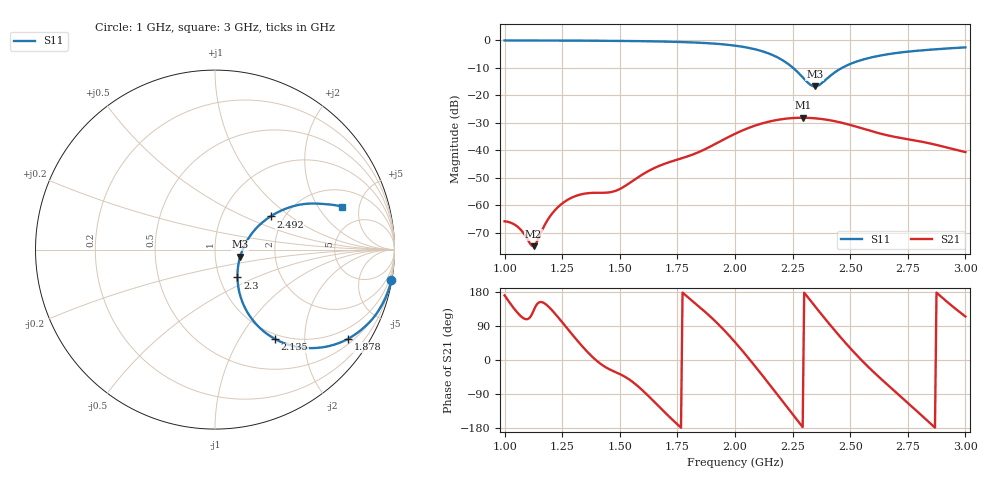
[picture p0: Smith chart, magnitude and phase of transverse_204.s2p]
! TOUCHSTONE file generated by CST MICROWAVE STUDIO
! Date and time: Tue Mar 11 13:57:44 2025
! Project name: transverse.cst
! Parameters = {Fracture=5; B=12.5; D=160; F=15; Feed=2.85625; L=100; M=30; R=0.384908; S=2; Theta=180; length=57.125; wave=114.25}
! Header version: 2024
! Port assignment regex: !\s*Touchstone port\s*([0-9]+)\s*=\s*(CST MWS port|CST DES external port|CST DES block port)\s*(.+)\s* \(\"(.*)\"\)(\s*mode\s*([0-9]+))?.*
! Touchstone port assignment:
! Touchstone port 1 = CST MWS port 1 ("")
! Touchstone port 2 = CST MWS port 2 ("")
# GHz S MA R 50
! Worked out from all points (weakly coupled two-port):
!   304 points, 1 GHz to 3 GHz, reference 50 ohm
!   highest |S21| = -28.14 dB at 2.294 GHz (marker M1); lowest = -74.9 dB at 1.125 GHz (marker M2)
!   lowest |S11| = -16.7 dB at 2.347 GHz (marker M3), VSWR 1.34, Z = 66 - j5.42 ohm
!   |S11| at or under -10 dB: 2.252 GHz to 2.464 GHz (212.3 MHz wide, 9 % of centre)
!   S12 and S22 are empty: the file has one direction only
!   S11 on the Smith chart (normalised r, x): 1 GHz: 0, -12; 1.878 GHz: 0.65, -3.16; 2.135 GHz: 0.93, -1.45; 2.3 GHz: 1.22, -0.39; 2.492 GHz: 1.70, +0.72; 3 GHz: 3.10, +3.35
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1  0.9975 -9.7  0.0005126 170.6  0 0.0  0 0.0
1.05941  0.9969 -10.5  0.000398 122.4  0 0.0  0 0.0
1.11221  0.9962 -11.3  0.000197 114.2  0 0.0  0 0.0
1.12541  0.996 -11.5  0.0001808 129.8  0 0.0  0 0.0
1.13861  0.9957 -11.7  0.0002112 145.7  0 0.0  0 0.0
1.18482  0.9944 -12.5  0.0005276 144.1  0 0.0  0 0.0
1.21782  0.9933 -13.0  0.0008098 123.1  0 0.0  0 0.0
1.27063  0.9916 -13.9  0.001239 84.3  0 0.0  0 0.0
1.33663  0.9892 -15.1  0.0016 36.5  0 0.0  0 0.0
1.48185  0.9797 -18.4  0.001836 -32.1  0 0.0  0 0.0
1.66667  0.9576 -24.0  0.005127 -120.7  0 0.0  0 0.0
1.87789  0.8921 -33.9  0.01089 122.9  0 0.0  0 0.0
2.0033  0.7987 -43.2  0.0203 44.8  0 0.0  0 0.0
2.13531  0.6012 -56.1  0.03238 -53.4  0 0.0  0 0.0
2.22112  0.398 -62.6  0.0377 -120.3  0 0.0  0 0.0
2.29373  0.2133 -53.8  0.03918 -177.1  0 0.0  0 0.0
2.30033  0.1992 -51.1  0.03916 177.8  0 0.0  0 0.0
2.33993  0.1468 -22.3  0.03851 147.3  0 0.0  0 0.0
2.34653  0.1456 -16.0  0.03832 142.2  0 0.0  0 0.0
2.49175  0.3604 30.9  0.02963 36.9  0 0.0  0 0.0
2.66997  0.5658 26.8  0.01844 -69.6  0 0.0  0 0.0
3  0.7467 18.7  0.009312 114.8  0 0.0  0 0.0
